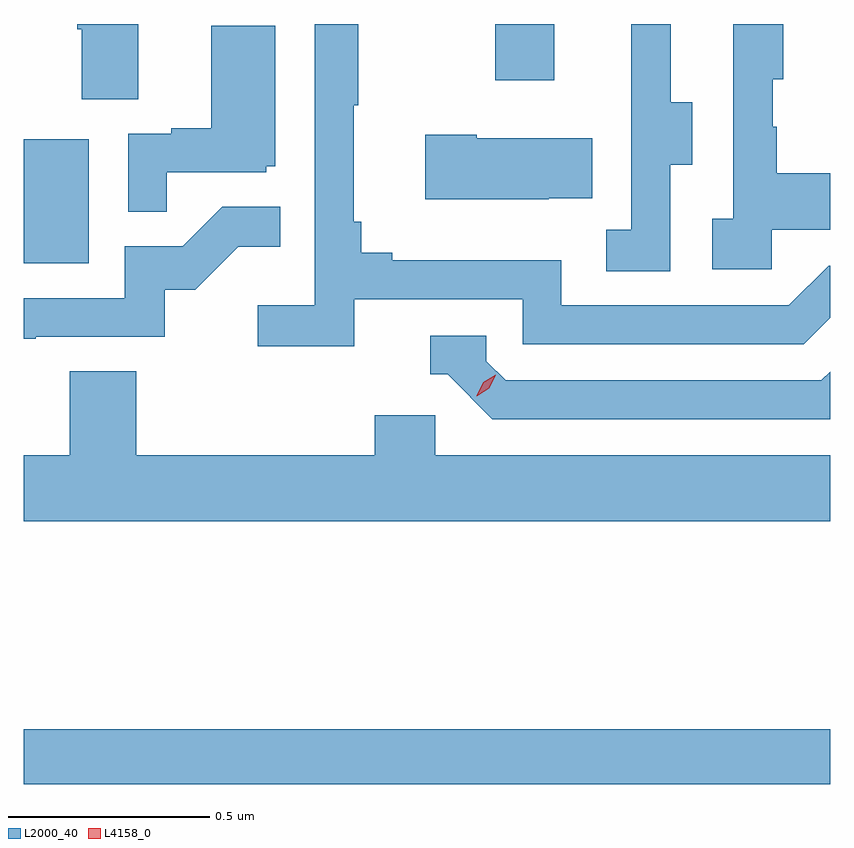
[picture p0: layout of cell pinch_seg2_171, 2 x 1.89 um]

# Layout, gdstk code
import gdstk
lib = gdstk.Library(unit=1e-6, precision=1e-09)
def R(c, l, rs):  # rectangles x0, y0, x1, y1
    for r in rs: c.add(gdstk.rectangle(r[:2], r[2:], *l))
def P(c, l, *ps):  # polygons
    for p in ps: c.add(gdstk.Polygon(p, *l))
L2000_40 = (2000, 40)
L4158_0 = (4158, 0)

pinch_seg2_171 = lib.new_cell('pinch_seg2_171')
R(pinch_seg2_171, L2000_40, [(1083.293,625.672,1085.293,625.808), (1083.293,626.964,1083.454,627.271), (1084.462,627.417,1084.609,627.557)])
P(pinch_seg2_171, L2000_40, [(1083.577,627.557),(1083.425,627.557),(1083.425,627.544),(1083.437,627.544),(1083.437,627.37),(1083.577,627.37)],
  [(1084.112,626.874),(1084.53,626.874),(1084.53,626.763),(1085.227,626.763),(1085.293,626.829),(1085.293,626.958),(1085.289,626.958),(1085.19,626.859),(1084.626,626.859),(1084.626,626.971),(1084.207,626.971),(1084.207,626.99),(1084.13,626.99),(1084.13,627.067),(1084.111,627.067),(1084.111,627.355),(1084.123,627.355),(1084.123,627.557),(1084.014,627.557),(1084.014,626.86),(1083.873,626.86),(1083.873,626.758),(1084.112,626.758)],
  [(1084.896,627.208),(1084.951,627.208),(1084.951,627.363),(1084.897,627.363),(1084.897,627.557),(1084.799,627.557),(1084.799,627.351),(1084.8,627.351),(1084.8,627.047),(1084.737,627.047),(1084.737,626.944),(1084.896,626.944)],
  [(1085.148,627.047),(1085.293,627.047),(1085.293,627.187),(1085.161,627.187),(1085.161,627.302),(1085.151,627.302),(1085.151,627.42),(1085.176,627.42),(1085.176,627.557),(1085.052,627.557),(1085.052,627.074),(1085.001,627.074),(1085.001,626.949),(1085.148,626.949)],
  [(1083.647,627.189),(1083.894,627.189),(1083.894,627.204),(1083.916,627.204),(1083.916,627.553),(1083.758,627.553),(1083.758,627.298),(1083.659,627.298),(1083.659,627.285),(1083.552,627.285),(1083.552,627.091),(1083.647,627.091)],
  [(1084.595,627.125),(1084.703,627.125),(1084.703,627.274),(1084.417,627.274),(1084.417,627.282),(1084.289,627.282),(1084.289,627.122),(1084.595,627.122)],
  [(1083.323,626.781),(1083.642,626.781),(1083.642,626.898),(1083.718,626.898),(1083.825,627.005),(1083.929,627.005),(1083.929,627.104),(1083.785,627.104),(1083.687,627.006),(1083.543,627.006),(1083.543,626.877),(1083.293,626.877),(1083.293,626.776),(1083.323,626.776)],
  [(1085.293,626.695),(1085.271,626.673),(1084.488,626.673),(1084.44,626.721),(1084.44,626.784),(1084.301,626.784),(1084.301,626.688),(1084.344,626.688),(1084.455,626.577),(1085.293,626.577)],
  [(1085.293,626.488),(1084.314,626.488),(1084.314,626.586),(1084.163,626.586),(1084.163,626.488),(1083.572,626.488),(1083.572,626.696),(1083.407,626.696),(1083.407,626.488),(1083.293,626.488),(1083.293,626.324),(1085.293,626.324)])
P(pinch_seg2_171, L4158_0, [(1084.417,626.634),(1084.417,626.635),(1084.433,626.668),(1084.464,626.687),(1084.464,626.687),(1084.464,626.687),(1084.448,626.654),(1084.417,626.634)])

lib.write_gds('pinch_seg2_171.gds')
